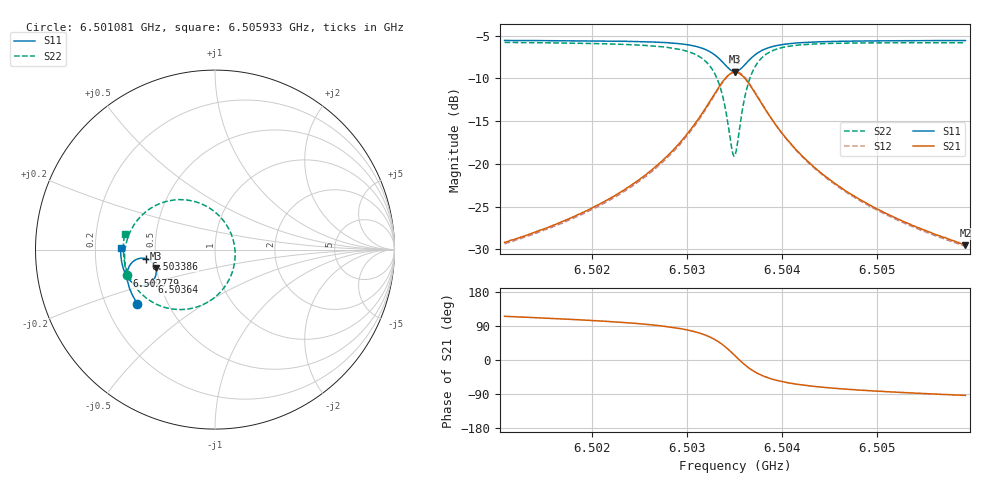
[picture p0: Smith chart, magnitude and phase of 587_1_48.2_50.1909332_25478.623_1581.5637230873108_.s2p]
#  HZ  S  RI  R  50.00
! Rohde & Schwarz Vector Network Analyzer
! Rohde-Schwarz,ZNB20-2Port,1311601062101988,3.16
! Created: UTC 3/20/2024, 12:02:20 PM
! freq[Hz]  re:S11  im:S11  re:S21  im:S21  re:S12  im:S12  re:S22  im:S22
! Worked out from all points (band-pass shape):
!   401 points, 6.501081 GHz to 6.505933 GHz, reference 50 ohm
!   highest |S21| = -9.28 dB at 6.503507 GHz (marker M1); lowest = -29.5 dB at 6.505933 GHz (marker M2)
!   |S21| within 3 dB of the highest: 6.503265 GHz to 6.50375 GHz (485.1 kHz wide, 0.00746 % of centre)
!   lowest |S11| = -9.2 dB at 6.503507 GHz (marker M3), VSWR 2.06, Z = 24.7 - j5.72 ohm
!   |S11| at or under -10 dB: nowhere
!   |S22| runs from -19.1 to -5.8 dB; largest |S21 - S12| = 0.012
!   S11 on the Smith chart (normalised r, x): 6.501081 GHz: 0.34, -0.28; 6.502779 GHz: 0.33, -0.13; 6.503386 GHz: 0.44, -0.05; 6.50364 GHz: 0.45, -0.19; 6.505933 GHz: 0.31, +0.01
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6.5010808e9  -0.4323 -0.3016  -0.0149 0.0314  -0.0131 0.0314  -0.4926 -0.144
6.5018935e9  -0.4662 -0.2402  -0.0139 0.0498  -0.0116 0.0491  -0.5039 -0.0557
6.5023302e9  -0.4812 -0.2008  -0.0111 0.0691  -0.00792 0.0679  -0.5 0.00796
6.5027063e9  -0.4897 -0.1581  -0.00122 0.1002  0.00234 0.0977  -0.4785 0.0859
6.5027791e9  -0.4902 -0.1481  0.00287 0.1091  0.00652 0.1063  -0.4697 0.1054
6.5029853e9  -0.4861 -0.1148  0.0244 0.1431  0.0281 0.1389  -0.4245 0.1731
6.503143e9  -0.4712 -0.0825  0.0643 0.1796  0.067 0.1738  -0.347 0.2371
6.5032886e9  -0.4328 -0.0526  0.147 0.2086  0.1476 0.2026  -0.1968 0.2784
6.5033371e9  -0.4114 -0.0478  0.19 0.2072  0.19 0.2018  -0.1213 0.2697
6.5033856e9  -0.3856 -0.0499  0.2397 0.192  0.2396 0.1876  -0.0366 0.2351
6.5034705e9  -0.3419 -0.0795  0.3189 0.1165  0.3216 0.1126  0.0904 0.0864
6.5035069e9  -0.3309 -0.102  0.3369 0.0669  0.3409 0.0618  0.1118 -0.00639
6.5035312e9  -0.3279 -0.1185  0.3403 0.0317  0.3448 0.0253  0.1093 -0.0708
6.5035676e9  -0.33 -0.143  0.333 -0.0192  0.3369 -0.0279  0.0816 -0.1612
6.5036403e9  -0.3526 -0.1809  0.2854 -0.0968  0.2859 -0.1082  -0.0299 -0.2863
6.5037495e9  -0.3989 -0.2015  0.1973 -0.1426  0.1922 -0.1526  -0.2089 -0.3337
6.5039072e9  -0.4469 -0.1921  0.1121 -0.1386  0.105 -0.1438  -0.3621 -0.2845
6.5040771e9  -0.4749 -0.1707  0.0659 -0.1172  0.0595 -0.1195  -0.4366 -0.2169
6.5043197e9  -0.4962 -0.1407  0.0349 -0.0914  0.03 -0.0921  -0.4812 -0.1429
6.5046957e9  -0.512 -0.1006  0.015 -0.0667  0.0116 -0.0662  -0.5047 -0.0651
6.5051324e9  -0.5211 -0.0597  0.0053 -0.05  0.00296 -0.0492  -0.5107 -0.00131
6.5059331e9  -0.5264 0.00884  -0.00199 -0.0334  -0.00328 -0.0328  -0.5035 0.0856
